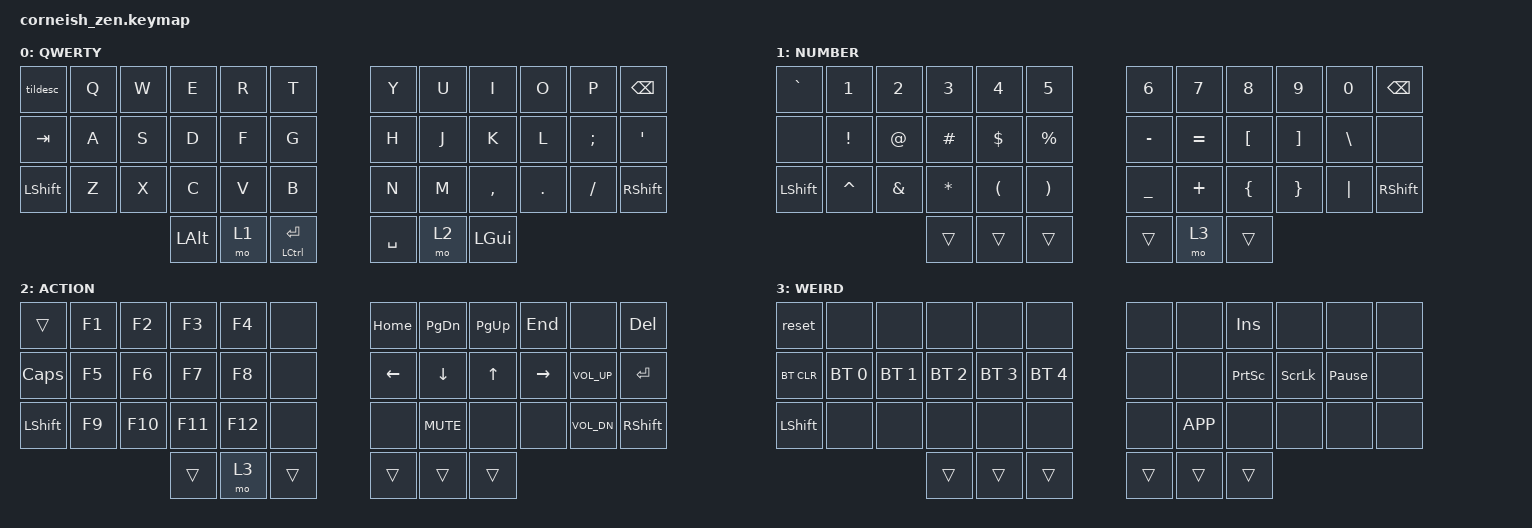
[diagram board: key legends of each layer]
/*
*
* Copyright (c) 2021 Darryl deHaan
* SPDX-License-Identifier: MIT
*
*/

#include <behaviors.dtsi>
#include <dt-bindings/zmk/keys.h>
#include <dt-bindings/zmk/bt.h>

/ {
  chosen {
    zmk,matrix_transform = &default_transform;
    //zmk,matrix_transform = &five_column_transform;
  };
};

/ {
    behaviors {
        tildesc: tilde_escape {
            compatible = "zmk,behavior-mod-morph";
            label = "GRAVE_ESCAPE";
            #binding-cells = <0>;
            bindings = <&kp ESC>, <&kp TILDE>;
            mods = <(MOD_LSFT|MOD_RSFT)>;
        };
    };
};

/ {
        keymap {
                compatible = "zmk,keymap";

                default_layer {
                        label = "QWERTY";
// -----------------------------------------------------------------------------------------
// | `ESC |  Q  |  W  |  E  |  R  |  T  |   |  Y  |  U   |  I  |  O  |  P  | BKSP |
// | TAB  |  A  |  S  |  D  |  F  |  G  |   |  H  |  J   |  K  |  L  |  ;  |  '   |
// | SHFT |  Z  |  X  |  C  |  V  |  B  |   |  N  |  M   |  ,  |  .  |  /  | SHFT |
//                    | GUI | LWR | * |   | ENT | RSE  | ALT |
                        bindings = <
   &tildesc  &kp Q &kp W &kp E &kp R &kp T   &kp Y &kp U  &kp I     &kp O   &kp P    &kp BSPC
   &kp TAB   &kp A &kp S &kp D &kp F &kp G   &kp H &kp J  &kp K     &kp L   &kp SEMI &kp SQT
   &kp LSHFT &kp Z &kp X &kp C &kp V &kp B   &kp N &kp M  &kp COMMA &kp DOT &kp FSLH &kp RSHFT
                  &kp LALT &mo 1 &mt LCTRL RET     &kp SPACE &mo 2 &kp LGUI
                        >;
                };
                lower_layer {
                        label = "NUMBER";
// -----------------------------------------------------------------------------------------
// |  `   |  1  |  2  |  3  |  4  |  5  |   |  6  |  7  |  8  |  9  |  0  | BKSP |
// |      |  !  |  @  |  #  |  $  |  %  |   |  -  |  =  |  [  |  ]  |  \  |      |
// | SHFT |  ^  |  &  |  *  |  (  |  )  |   |  _  |  +  |  {  |  }  | "|" |  SHFT|
//                    | GUI | LWR | * |   | ENT | RSE  | ALT |
                        bindings = <
   &kp GRAVE  &kp N1       &kp N2       &kp N3       &kp N4       &kp N5         &kp N6    &kp N7    &kp N8          &kp N9   &kp N0   &kp BSPC
   &none      &kp EXCL     &kp AT       &kp HASH     &kp DLLR     &kp PRCNT      &kp MINUS &kp EQUAL &kp LBKT        &kp RBKT &kp BSLH &none
   &kp LSHFT  &kp CARET    &kp AMPS     &kp ASTRK    &kp LPAR     &kp RPAR       &kp UNDER &kp PLUS  &kp LBRC        &kp RBRC &kp PIPE &kp RSHFT
                          	        &trans     &trans       &trans      &trans  &mo 3   &trans
                        >;
                };

                raise_layer {
                        label = "ACTION";
// -----------------------------------------------------------------------------------------
// |  TAB |  !  |  @  |  #  |  $  |  %  |   |  ^  |  &  |  *  |  (  |  )  | BKSP |
// | CTRL |     |     |     |     |     |   |  -  |  =  |  [  |  ]  |  \  |  `   |
// | SHFT |     |     |     |     |     |   |  _  |  +  |  {  |  }  | "|" |  ~   |
//                    | GUI |     | SPC |   | ENT |     | ALT |
                        bindings = <
   &trans    &kp F1 &kp F2 &kp F3 &kp F4    &none      &kp HOME &kp PG_DN  &kp PG_UP &kp END   &none        &kp DEL
   &kp CAPS  &kp F5 &kp F6 &kp F7 &kp F8    &none      &kp LEFT &kp DOWN   &kp UP    &kp RIGHT &kp C_VOL_UP &kp RET
   &kp LSHFT &kp F9 &kp F10 &kp F11 &kp F12 &none      &none    &kp C_MUTE &none     &none     &kp C_VOL_DN &kp RSHFT
                    	     &trans &mo 3   &trans     &trans   &trans     &trans
                        >;
                };

                weird_layer {
                        label = "WEIRD";
// -----------------------------------------------------------------------------------------
// |  TAB |  !  |  @  |  #  |  $  |  %  |   |  ^  |  &  |  *  |  (  |  )  | BKSP |
// | CTRL |     |     |     |     |     |   |  -  |  =  |  [  |  ]  |  \  |  `   |
// | SHFT |     |     |     |     |     |   |  _  |  +  |  {  |  }  | "|" |  ~   |
//                    | GUI |     | SPC |   | ENT |     | ALT |
                        bindings = <
   &reset     &none        &none        &none        &none        &none          &none    &none      &kp INS   &none    &none           &none
   &bt BT_CLR &bt BT_SEL 0 &bt BT_SEL 1 &bt BT_SEL 2 &bt BT_SEL 3 &bt BT_SEL 4   &none    &none      &kp PSCRN &kp SLCK &kp PAUSE_BREAK &none
   &kp LSHFT  &none        &none        &none        &none        &none          &none    &kp K_APP  &none     &none    &none           &none
                    	                &trans       &trans       &trans         &trans   &trans     &trans
                        >;
                };
        };
};



